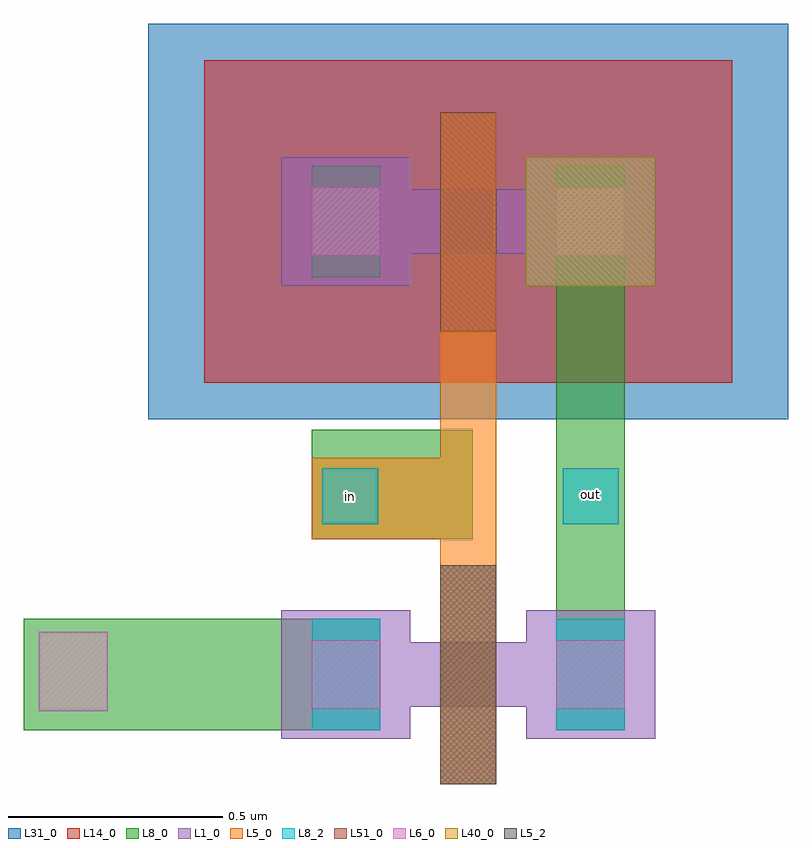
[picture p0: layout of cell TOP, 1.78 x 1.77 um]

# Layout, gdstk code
import gdstk
lib = gdstk.Library(unit=1e-6, precision=5e-09)
def R(c, l, rs):  # rectangles x0, y0, x1, y1
    for r in rs: c.add(gdstk.rectangle(r[:2], r[2:], *l))
def P(c, l, *ps):  # polygons
    for p in ps: c.add(gdstk.Polygon(p, *l))
L1_0 = (1, 0)
L5_0 = (5, 0)
L5_2 = (5, 2)
L6_0 = (6, 0)
L8_0 = (8, 0)
L8_2 = (8, 2)
L14_0 = (14, 0)
L31_0 = (31, 0)
L40_0 = (40, 0)
L51_0 = (51, 0)

pmos = lib.new_cell('pmos')
R(pmos, L1_0, [(0,0,0.3,0.3), (0.57,0,0.87,0.3), (0,0.075,0.87,0.225)])
R(pmos, L5_0, [(0.37,-0.105,0.5,0.405), (0.37,-0.105,0.5,0.405)])
R(pmos, L6_0, [(0.07,0.07,0.23,0.23), (0.64,0.07,0.8,0.23)])
R(pmos, L8_0, [(0.07,0.02,0.23,0.28), (0.07,0.02,0.23,0.28), (0.64,0.02,0.8,0.28), (0.64,0.02,0.8,0.28)])
R(pmos, L14_0, [(-0.18,-0.225,1.05,0.525)])
R(pmos, L31_0, [(-0.31,-0.31,1.18,0.61)])
R(pmos, L40_0, [(0.57,0,0.87,0.3)])
R(pmos, L51_0, [(0.37,-0.105,0.5,0.405)])
pmos.add(gdstk.Label('pmos', (0.435,0.15), layer=63, texttype=0))
pmos.add(gdstk.Label('pmos', (0.435,0.15), layer=51, texttype=0))

nmos = lib.new_cell('nmos')
R(nmos, L1_0, [(0,0,0.3,0.3), (0.57,0,0.87,0.3), (0,0.075,0.87,0.225)])
R(nmos, L5_0, [(0.37,-0.105,0.5,0.405)])
R(nmos, L5_2, [(0.37,-0.105,0.5,0.405)])
R(nmos, L6_0, [(0.07,0.07,0.23,0.23), (0.64,0.07,0.8,0.23)])
R(nmos, L8_0, [(0.07,0.02,0.23,0.28), (0.64,0.02,0.8,0.28)])
R(nmos, L8_2, [(0.07,0.02,0.23,0.28), (0.64,0.02,0.8,0.28)])
R(nmos, L51_0, [(0.37,-0.105,0.5,0.405)])
nmos.add(gdstk.Label('nmos', (0.435,0.15), layer=63, texttype=0))
nmos.add(gdstk.Label('nmos', (0.435,0.15), layer=51, texttype=0))

top = lib.new_cell('TOP')
R(top, L5_0, [(-0.065,0.255,0.065,0.8), (-0.365,0.315,-0.065,0.505)])
R(top, L6_0, [(-1,-0.085,-0.84,0.1)])
R(top, L8_0, [(-1.035,-0.13,-0.205,0.13), (0.205,-0.13,0.365,1.185)])
P(top, L8_0, [(-0.365,0.315),(-0.365,0.57),(0.01,0.57),(0.01,0.485),(0.01,0.315)])
R(top, L8_2, [(-0.34,0.35,-0.21,0.48), (-0.34,0.35,-0.21,0.48), (0.22,0.35,0.35,0.48)])
top.add(gdstk.Reference(pmos, (-0.435,0.905)))
top.add(gdstk.Reference(nmos, (-0.435,-0.15)))
top.add(gdstk.Label('in', (-0.275,0.415), layer=5, texttype=1))
top.add(gdstk.Label('out', (0.285,0.42), layer=8, texttype=25))

lib.write_gds('TOP.gds')
